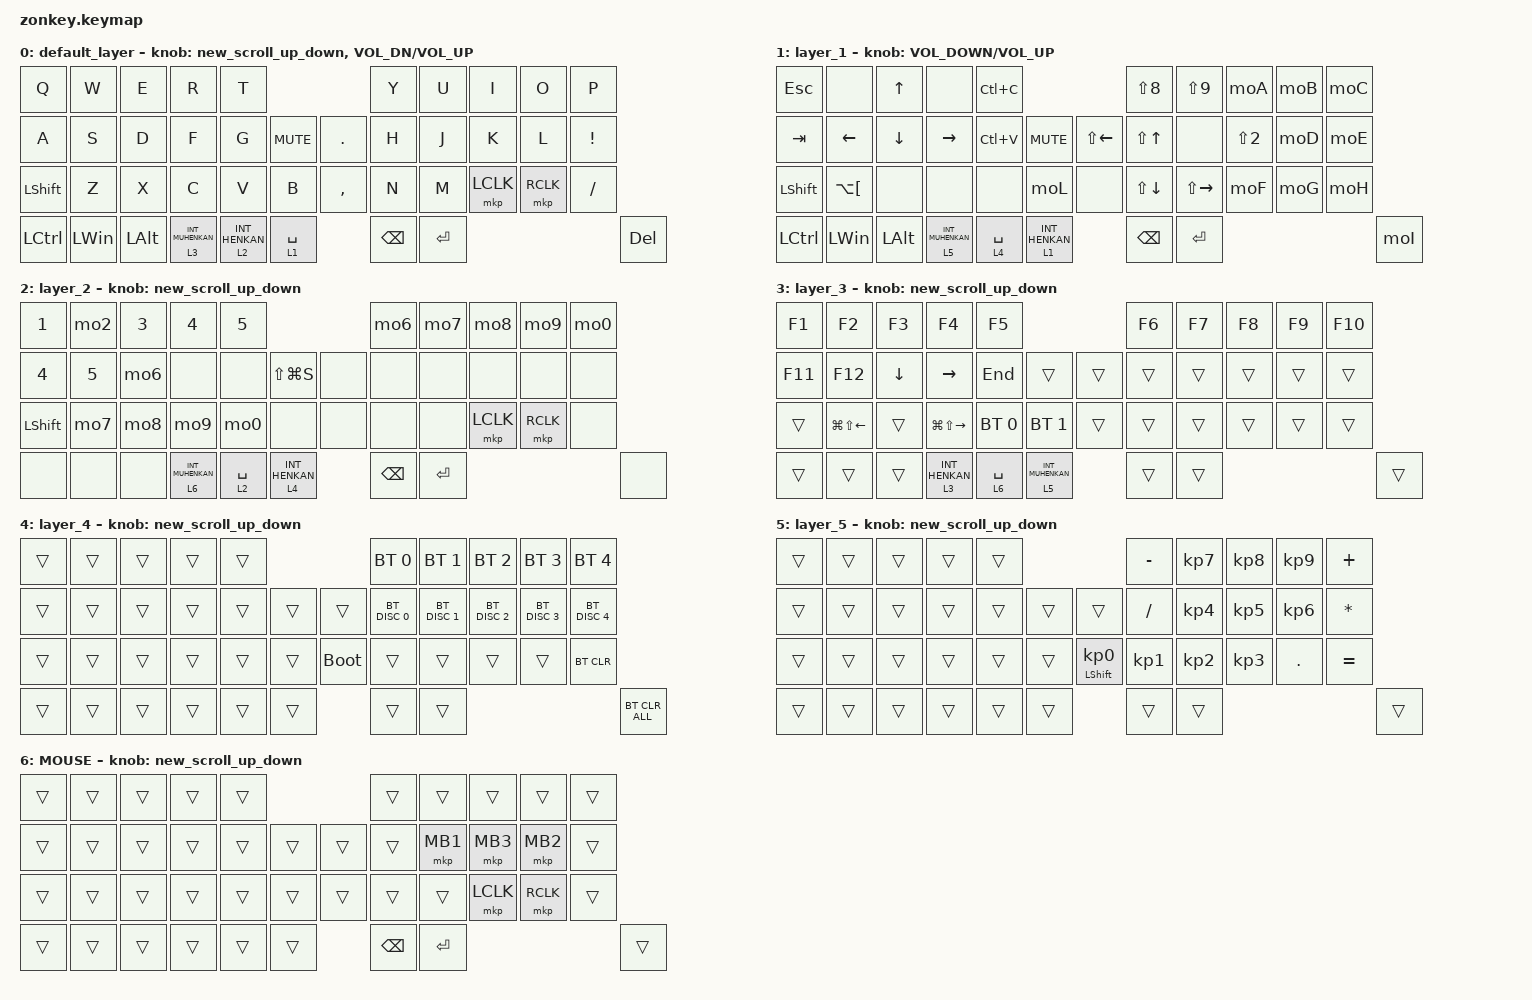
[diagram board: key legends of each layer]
#include <physical_layouts.dtsi>
#include <behaviors.dtsi>
#include <dt-bindings/zmk/bt.h>
#include <dt-bindings/zmk/keys.h>
#include <dt-bindings/zmk/pointing.h>

#define ZMK_POINTING_DEFAULT_SCRL_VAL 100
#define DFb 0
#define JIS 1
#define BT 4
#define MOUSE 6
#define JP_DQUOTE       AT                // "
#define JP_AMPERSAND    CARET             // &
#define JP_QUOTE        AMPERSAND         // '
#define JP_EQUAL        UNDER             // =
#define JP_CARET        EQUAL             // ^
#define JP_YEN          0x89              // ¥
#define JP_PLUS         COLON             // +
#define JP_TILDE        PLUS              // ~
#define JP_PIPE         LS(0x89)          // |
#define JP_AT           LEFT_BRACKET      // @
#define JP_COLON        SINGLE_QUOTE      // :
#define JP_ASTERISK     DOUBLE_QUOTES     // *
#define JP_BACKQUOTE    LEFT_BRACE        // `
#define JP_UNDERSCORE   LS(0x87)          // _
#define JP_LBRACKET     RIGHT_BRACKET     // [
#define JP_RBRACKET     BACKSLASH         // ]
#define JP_LPAREN       ASTERISK          // (
#define JP_RPAREN       LEFT_PARENTHESIS  // )
#define JP_LBRACE       RIGHT_BRACE       // {
#define JP_RBRACE       PIPE              // }
#define JP_KANA         LANGUAGE_1        // かな
#define JP_EISU         LANGUAGE_2        // 英数
#define JP_HANZEN       GRAVE             // 半角/全角
#define JP_BSLH  INT1         // (backslash)

&mt {
    flavor = "balanced";
    quick-tap-ms = <0>;
};

/ {
    combos { compatible = "zmk,combos"; };

    macros {
        to_layer_0: to_layer_0 {
            compatible = "zmk,behavior-macro-one-param";
            #binding-cells = <1>;
            bindings = <&to 0 &macro_param_1to1 &kp MACRO_PLACEHOLDER>;
            label = "TO_LAYER_0";
        };
    };

    behaviors {
        lt_to_layer_0: lt_to_layer_0 {
            compatible = "zmk,behavior-hold-tap";
            label = "LAYER_TAP_TO_0";
            bindings = <&mo>, <&to_layer_0>;

            #binding-cells = <2>;
            tapping-term-ms = <200>;
        };

        mo2: mo2 {
            compatible = "zmk,behavior-mod-morph";
            #binding-cells = <0>;
            bindings = <&kp N2>, <&kp AT>;

            mods = <(MOD_LSFT|MOD_RSFT)>;
        };

        mo6: mo6 {
            compatible = "zmk,behavior-mod-morph";
            #binding-cells = <0>;
            bindings = <&kp N6>, <&kp CARET>;

            mods = <(MOD_LSFT|MOD_RSFT)>;
        };

        mo7: mo7 {
            compatible = "zmk,behavior-mod-morph";
            #binding-cells = <0>;
            bindings = <&kp N7>, <&kp AMPS>;

            mods = <(MOD_LSFT|MOD_RSFT)>;
        };

        mo8: mo8 {
            compatible = "zmk,behavior-mod-morph";
            #binding-cells = <0>;
            bindings = <&kp N8>, <&kp ASTRK>;

            mods = <(MOD_LSFT|MOD_RSFT)>;
        };

        mo9: mo9 {
            compatible = "zmk,behavior-mod-morph";
            #binding-cells = <0>;
            bindings = <&kp N9>, <&kp LPAR>;

            mods = <(MOD_LSFT|MOD_RSFT)>;
        };

        mo0: mo0 {
            compatible = "zmk,behavior-mod-morph";
            #binding-cells = <0>;
            bindings = <&kp N0>, <&kp LS(N9)>;

            mods = <(MOD_LSFT|MOD_RSFT)>;
        };

        moA: moA {
            compatible = "zmk,behavior-mod-morph";
            #binding-cells = <0>;
            bindings = <&kp MINUS>, <&kp UNDERSCORE>;

            mods = <(MOD_LSFT|MOD_RSFT)>;
        };

        moB: moB {
            compatible = "zmk,behavior-mod-morph";
            #binding-cells = <0>;
            bindings = <&kp EQUAL>, <&kp PLUS>;

            mods = <(MOD_LSFT|MOD_RSFT)>;
        };

        moC: moC {
            compatible = "zmk,behavior-mod-morph";
            #binding-cells = <0>;
            bindings = <&kp INT3>, <&kp JP_PIPE>;

            mods = <(MOD_LSFT|MOD_RSFT)>;
        };

        moD: moD {
            compatible = "zmk,behavior-mod-morph";
            #binding-cells = <0>;
            bindings = <&kp LBKT>, <&kp LBRC>;

            mods = <(MOD_LSFT|MOD_RSFT)>;
        };

        moE: moE {
            compatible = "zmk,behavior-mod-morph";
            #binding-cells = <0>;
            bindings = <&kp RBKT>, <&kp RBRC>;

            mods = <(MOD_LSFT|MOD_RSFT)>;
        };

        moF: moF {
            compatible = "zmk,behavior-mod-morph";
            #binding-cells = <0>;
            bindings = <&kp SEMI>, <&kp KP_PLUS>;

            mods = <(MOD_LSFT|MOD_RSFT)>;
        };

        moG: moG {
            compatible = "zmk,behavior-mod-morph";
            #binding-cells = <0>;
            bindings = <&kp APOSTROPHE>, <&kp DQT>;

            mods = <(MOD_LSFT|MOD_RSFT)>;
        };

        moH: moH {
            compatible = "zmk,behavior-mod-morph";
            #binding-cells = <0>;
            bindings = <&kp BACKSLASH>, <&kp TILDE2>;

            mods = <(MOD_LSFT|MOD_RSFT)>;
        };

        moI: moI {
            compatible = "zmk,behavior-mod-morph";
            #binding-cells = <0>;
            bindings = <&kp JP_BSLH>, <&kp JP_UNDERSCORE>;

            mods = <(MOD_LSFT|MOD_RSFT)>;
        };

        scroll_up_down: behavior_sensor_rotate_mouse_wheel_up_down {
            compatible = "zmk,behavior-sensor-rotate";
            #sensor-binding-cells = <0>;
            bindings = <&msc SCRL_UP>, <&msc SCRL_DOWN>;

            tap-ms = <20>;
        };

        new_scroll_up_down: behavior {
            compatible = "zmk,behavior-sensor-rotate";
            #sensor-binding-cells = <0>;
            bindings = <&msc SCRL_DOWN>, <&msc SCRL_UP>;

            tap-ms = <20>;
        };

        moL: moL {
            compatible = "zmk,behavior-mod-morph";
            #binding-cells = <0>;
            bindings = <&kp LA(LBKT)>, <&kp LBRC>;

            mods = <(MOD_LSFT|MOD_RSFT)>;
        };
    };

    keymap {
        compatible = "zmk,keymap";

        default_layer {
            bindings = <
&kp Q           &kp W         &kp E         &kp R               &kp T                                       &kp Y          &kp U      &kp I      &kp O      &kp P
&kp A           &kp S         &kp D         &kp F               &kp G             &kp C_MUTE     &kp DOT    &kp H          &kp J      &kp K      &kp L      &kp EXCLAMATION
&kp LEFT_SHIFT  &kp Z         &kp X         &kp C               &kp V             &kp B          &kp COMMA  &kp N          &kp M      &mkp LCLK  &mkp RCLK  &kp SLASH
&kp LCTRL       &kp LEFT_WIN  &kp LEFT_ALT  &lt 3 INT_MUHENKAN  &lt 2 INT_HENKAN  &lt 1 SPACE               &kp BACKSPACE  &kp ENTER                                         &kp DEL
            >;

            sensor-bindings =
                <&new_scroll_up_down>,
                <&inc_dec_kp C_VOL_DN C_VOL_UP>;
        };

        layer_1 {
            bindings = <
&kp ESC         &none         &kp UP        &none               &kp LC(C)                                            &kp LS(NUMBER_8)    &kp LS(NUMBER_9)     &moA              &moB  &moC
&kp TAB         &kp LEFT      &kp DOWN      &kp RIGHT           &kp LC(V)    &kp C_MUTE          &kp LS(LEFT_ARROW)  &kp LS(UP_ARROW)    &none                &kp LS(NUMBER_2)  &moD  &moE
&kp LEFT_SHIFT  &kp LA(LBKT)  &none         &none               &none        &moL                &none               &kp LS(DOWN_ARROW)  &kp LS(RIGHT_ARROW)  &moF              &moG  &moH
&kp LCTRL       &kp LEFT_WIN  &kp LEFT_ALT  &lt 5 INT_MUHENKAN  &lt 4 SPACE  &lt 1 INT_HENKAN                        &kp BACKSPACE       &kp ENTER                                          &moI
            >;

            sensor-bindings = <&inc_dec_kp C_VOLUME_DOWN C_VOLUME_UP>;
        };

        layer_2 {
            bindings = <
&kp N1          &mo2    &kp N3  &kp N4              &kp N5                                  &mo6           &mo7       &mo8       &mo9       &mo0
&kp N4          &kp N5  &mo6    &none               &none        &kp LS(LG(S))       &none  &none          &none      &none      &none      &none
&kp LEFT_SHIFT  &mo7    &mo8    &mo9                &mo0         &none               &none  &none          &none      &mkp LCLK  &mkp RCLK  &none
&none           &none   &none   &lt 6 INT_MUHENKAN  &lt 2 SPACE  &lt 4 INT_HENKAN           &kp BACKSPACE  &kp ENTER                               &none
            >;

            sensor-bindings = <&new_scroll_up_down>;
        };

        layer_3 {
            bindings = <
&kp F1   &kp F2                  &kp F3          &kp F4                   &kp F5                                      &kp F6  &kp F7  &kp F8  &kp F9  &kp F10
&kp F11  &kp F12                 &kp DOWN_ARROW  &kp RIGHT_ARROW          &kp END       &trans                &trans  &trans  &trans  &trans  &trans  &trans
&trans   &kp LG(LS(LEFT_ARROW))  &trans          &kp LG(LS(RIGHT_ARROW))  &bt BT_SEL 0  &bt BT_SEL 1          &trans  &trans  &trans  &trans  &trans  &trans
&trans   &trans                  &trans          &lt 3 INT_HENKAN         &lt 6 SPACE   &lt 5 INT_MUHENKAN            &trans  &trans                           &trans
            >;

            sensor-bindings = <&new_scroll_up_down>;
        };

        layer_4 {
            bindings = <
&trans  &trans  &trans  &trans  &trans                         &bt BT_SEL 0   &bt BT_SEL 1   &bt BT_SEL 2   &bt BT_SEL 3   &bt BT_SEL 4
&trans  &trans  &trans  &trans  &trans  &trans    &trans       &bt BT_DISC 0  &bt BT_DISC 1  &bt BT_DISC 2  &bt BT_DISC 3  &bt BT_DISC 4
&trans  &trans  &trans  &trans  &trans  &trans    &bootloader  &trans         &trans         &trans         &trans         &bt BT_CLR
&trans  &trans  &trans  &trans  &trans  &trans                 &trans         &trans                                                      &bt BT_CLR_ALL
            >;

            sensor-bindings = <&new_scroll_up_down>;
        };

        layer_5 {
            bindings = <
&trans  &trans  &trans  &trans  &trans                                        &kp MINUS        &kp KP_NUMBER_7  &kp KP_NUMBER_8  &kp KP_NUMBER_9  &kp PLUS
&trans  &trans  &trans  &trans  &trans  &trans    &trans                      &kp SLASH        &kp KP_NUMBER_4  &kp KP_NUMBER_5  &kp KP_NUMBER_6  &kp ASTERISK
&trans  &trans  &trans  &trans  &trans  &trans    &mt LEFT_SHIFT KP_NUMBER_0  &kp KP_NUMBER_1  &kp KP_NUMBER_2  &kp KP_NUMBER_3  &kp PERIOD       &kp EQUAL
&trans  &trans  &trans  &trans  &trans  &trans                                &trans           &trans                                                           &trans
            >;

            sensor-bindings = <&new_scroll_up_down>;
        };

        MOUSE {
            bindings = <
&trans  &trans  &trans  &trans  &trans                    &trans         &trans     &trans     &trans     &trans
&trans  &trans  &trans  &trans  &trans  &trans    &trans  &trans         &mkp MB1   &mkp MB3   &mkp MB2   &trans
&trans  &trans  &trans  &trans  &trans  &trans    &trans  &trans         &trans     &mkp LCLK  &mkp RCLK  &trans
&trans  &trans  &trans  &trans  &trans  &trans            &kp BACKSPACE  &kp ENTER                                &trans
            >;

            sensor-bindings = <&new_scroll_up_down>;
        };
    };
};
